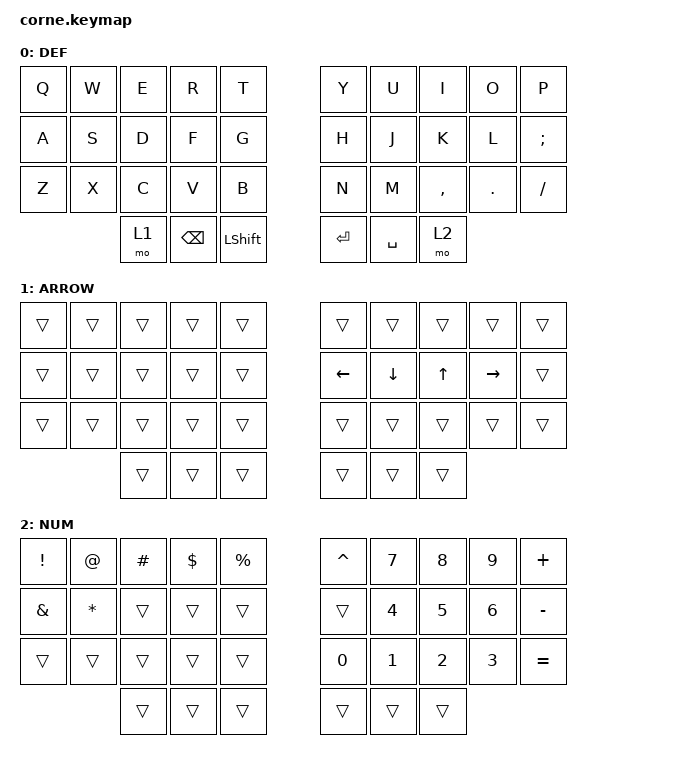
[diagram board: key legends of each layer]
/*
 * Copyright (c) 2020 The ZMK Contributors
 *
 * SPDX-License-Identifier: MIT
 */

#include <behaviors.dtsi>
#include <dt-bindings/zmk/bt.h>
#include <dt-bindings/zmk/keys.h>

/ {
    chosen { zmk,matrix_transform = &five_column_transform; };

    behaviors {
        combo_quote: combo_quote {
            compatible = "zmk,behavior-mod-morph";
            label = "COMBO_QUOTE";
            #binding-cells = <0>;
            bindings = <&kp SINGLE_QUOTE>, <&kp DOUBLE_QUOTES>;
            mods = <(MOD_LSFT|MOD_RSFT)>;
        };

        combo_right_bracket: combo_right_bracket {
            compatible = "zmk,behavior-mod-morph";
            label = "COMBO_RIGHT_BRACKET";
            #binding-cells = <0>;
            bindings = <&kp RIGHT_BRACKET>, <&kp RIGHT_BRACE>;
            mods = <(MOD_LSFT|MOD_RSFT)>;
        };

        combo_left_bracket: combo_left_bracket {
            compatible = "zmk,behavior-mod-morph";
            label = "COMBO_LEFT_BRACKET";
            #binding-cells = <0>;
            bindings = <&kp LEFT_BRACKET>, <&kp LEFT_BRACE>;
            mods = <(MOD_LSFT|MOD_RSFT)>;
        };
    };

    combos {
        compatible = "zmk,combos";

        RESET {
            bindings = <&sys_reset>;
            key-positions = <12 17>;
        };

        qw_tab {
            bindings = <&kp TAB>;
            key-positions = <0 1>;
        };

        as_escape {
            bindings = <&kp ESCAPE>;
            key-positions = <10 11>;
        };

        zx_ctrl {
            bindings = <&kp LCTRL>;
            key-positions = <20 21>;
        };

        xc_option {
            bindings = <&kp LALT>;
            key-positions = <21 22>;
        };

        slash_dot_ctrl {
            bindings = <&kp RCTRL>;
            key-positions = <29 28>;
        };

        dot_comma_option {
            bindings = <&kp RALT>;
            key-positions = <28 27>;
        };

        cv_left_gui {
            bindings = <&kp LEFT_GUI>;
            key-positions = <22 23>;
        };

        m_comma_right_gui {
            bindings = <&kp RIGHT_GUI>;
            key-positions = <26 27>;
        };

        l_semicolon_quote {
            bindings = <&combo_quote>;
            key-positions = <18 19>;
        };

        o_p_right_bracket {
            bindings = <&combo_right_bracket>;
            key-positions = <8 9>;
        };

        i_o_left_bracket {
            bindings = <&combo_left_bracket>;
            key-positions = <7 8>;
        };

        yu_left_paren {
            bindings = <&kp LEFT_PARENTHESIS>;
            key-positions = <5 6>;
        };

        ui_right_paren {
            bindings = <&kp RIGHT_PARENTHESIS>;
            key-positions = <6 7>;
        };

        lk_backtick {
            bindings = <&kp GRAVE>;
            key-positions = <18 17>;
        };
    };

    keymap {
        compatible = "zmk,keymap";

        default_layer {
            label = "DEF";
            bindings = <
  &kp Q        &kp W           &kp E               &kp R                    &kp T          &kp Y            &kp U                     &kp I                &kp O            &kp P
  &kp A        &kp S           &kp D               &kp F                    &kp G          &kp H            &kp J                     &kp K                &kp L            &kp SEMICOLON
  &kp Z        &kp X           &kp C               &kp V                    &kp B          &kp N            &kp M                     &kp COMMA            &kp PERIOD       &kp SLASH
                               &mo 1             &kp BACKSPACE            &kp LEFT_SHIFT  &kp ENTER      &kp SPACE                &mo 2
            >;
        };

        arrow_layer {
            label = "ARROW";
            bindings = <
  &trans       &trans          &trans              &trans                   &trans         &trans           &trans                    &trans               &trans           &trans
  &trans       &trans          &trans              &trans                   &trans         &kp LEFT         &kp DOWN                  &kp UP               &kp RIGHT        &trans
  &trans       &trans          &trans              &trans                   &trans         &trans           &trans                    &trans               &trans           &trans
                               &trans              &trans                   &trans         &trans           &trans                   &trans
            >;
        };

        numpad_layer {
            label = "NUM";
            bindings = <
  &kp EXCL     &kp AT          &kp HASH            &kp DOLLAR               &kp PERCENT    &kp CARET        &kp N7                    &kp N8               &kp N9           &kp PLUS
  &kp AMPS     &kp STAR        &trans              &trans                   &trans         &trans           &kp N4                    &kp N5               &kp N6           &kp MINUS
  &trans       &trans          &trans              &trans                   &trans         &kp N0           &kp N1                    &kp N2               &kp N3           &kp EQUAL
                               &trans              &trans                   &trans         &trans           &trans                   &trans
            >;
        };
    };
};
